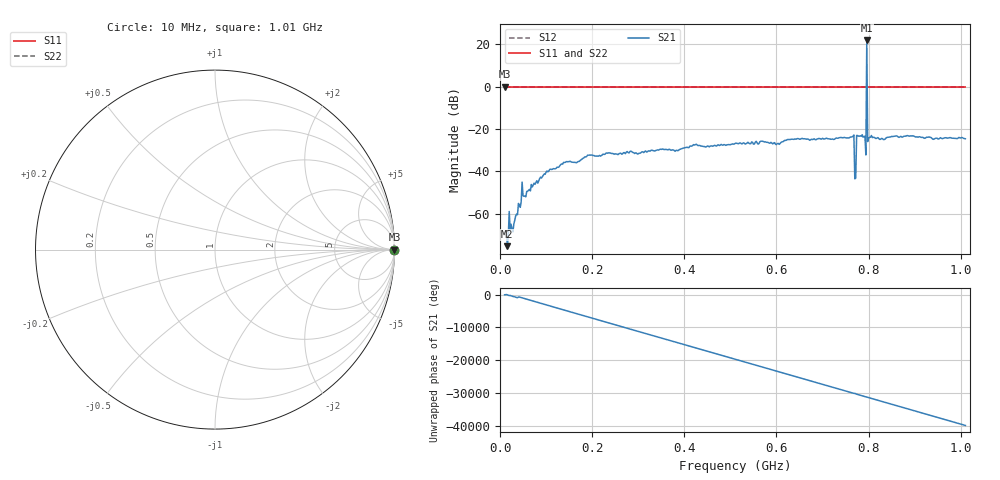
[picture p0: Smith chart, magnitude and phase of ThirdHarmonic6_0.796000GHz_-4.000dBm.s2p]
! 8/16/2025 2:32:32 AM
! C:\ANRITSUVNA\TEMP\TEMP.S2P
! CHANNEL.1
! TR.MEASUREMENT
! RAW.DATA
! RF.CORRECTION.OFF
! AVERAGING.OFF
! IF.BANDWIDTH: 5KHZ
! SWEEPTYPE:  FREQ.SWEEP(Linear)
! Reference Plane Port Info
! PORT:  PORT1  PORT2
! DISTANCE:  0  m  0  m
! TIME:  0  s  0  s
! PHASE.OFFSET:  0  deg.  0  deg.
! LOSS:  0  dB  0  dB
! REF.LOSS:  0  dB  0  dB
! REF.FREQ:  0  Hz  0  Hz
! Power Info
! POWER:  -20  dBm  -20  dBm
! EFF.POWER:  -20  dBm  -20  dBm
! SOURCE.ATTEN:  0  dB  0  dB
! TEST.ATTEN:  0  dB  0  dB
# GHZ S RI R 50.0
! FREQ.GHZ  S11RE  S11IM  S21RE  S21IM  S12RE  S12IM  S22RE  S22IM
!; PortSelection: Port_12
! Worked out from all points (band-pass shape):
!   501 points, 10 MHz to 1.01 GHz, reference 50 ohm
!   highest |S21| = 21.79 dB at 796 MHz (marker M1); lowest = -75.3 dB at 16 MHz (marker M2)
!   |S21| within 3 dB of the highest: 795.889 MHz to 796.1257 MHz (236.7 kHz wide, 0.0297 % of centre)
!   lowest |S11| = 0.0 dB at 10 MHz (marker M3)
!   |S11| at or under -10 dB: nowhere
!   |S22| runs from 0.0 to 0.0 dB; largest |S21 - S12| = 13
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0.01  1 0  3.42e-05 -0.000324  1 0  1 0
0.014  1 0  0.000378 -6.57e-05  1 0  1 0
0.016  1 0  -1.91e-05 -0.00017  1 0  1 0
0.03  1 0  -3.11e-05 0.000571  1 0  1 0
0.044  1 0  -0.000816 -0.00116  1 0  1 0
0.052  1 0  0.000139 -0.00257  1 0  1 0
0.106  1 0  -0.00707 -0.00734  1 0  1 0
0.178  1 0  -0.0189 -0.00513  1 0  1 0
0.344  1 0  0.0311 -0.00605  1 0  1 0
0.51  1 0  -0.0435 0.0132  1 0  1 0
0.678  1 0  -0.0237 -0.0511  1 0  1 0
0.764  1 0  0.059 0.0278  1 0  1 0
0.768  1 0  -0.0527 -0.0496  1 0  1 0
0.774  1 0  0.0652 -0.0266  1 0  1 0
0.778  1 0  -0.0675 0.00739  1 0  1 0
0.79  1 0  0.0428 0.0509  1 0  1 0
0.792  1 0  0.0581 -0.034  1 0  1 0
0.796  1 0  -12.25 -0.8349  1 0  1 0
0.8  1 0  0.0603 0.00831  1 0  1 0
0.802  1 0  0.0191 -0.0605  1 0  1 0
0.844  1 0  0.046 0.0451  1 0  1 0
1.01  1 0  -0.0559 -0.0181  1 0  1 0
